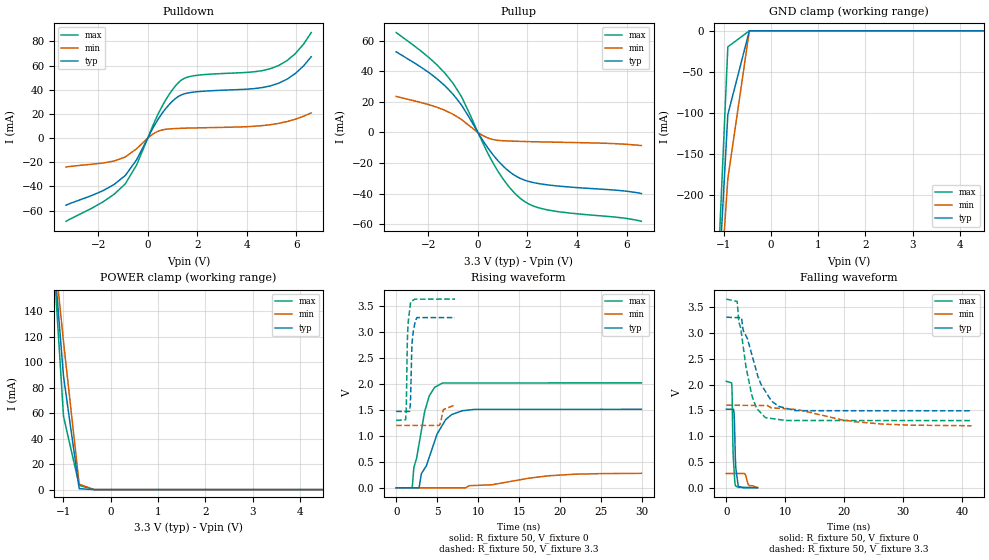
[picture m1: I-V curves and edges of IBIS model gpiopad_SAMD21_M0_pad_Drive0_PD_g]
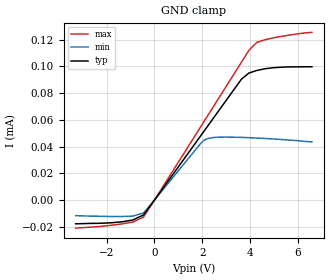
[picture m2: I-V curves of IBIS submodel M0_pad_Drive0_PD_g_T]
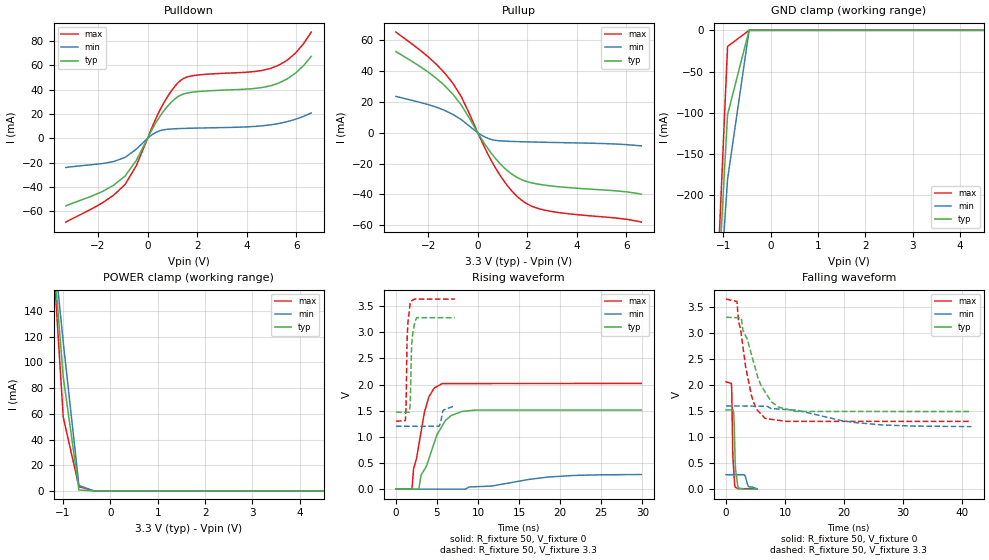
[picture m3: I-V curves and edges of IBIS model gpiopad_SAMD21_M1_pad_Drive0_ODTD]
|   - ATMEL Microcontrollers -
|   IBIS model for SAMD21_TQFP48
[IBIS Ver]   4.2
[Comment char]  |_char
[File Name]   samd21_3t48.ibs
[File Rev]   1.1
[Date]   16-SEP-2015 11:10:05
[Source]   By GENIBIS V3.6 - GENerate chip IBIS model - 11-SEP-2015
[Notes]   Property of ATMEL Corporation
[Disclaimer]
                  (C) Copyright ATMEL Nantes 2002-2015
Atmel Nantes makes no warranty for the use of its products, other than
those expressly contained in the Company's standard warranty which is detailed
in Atmel's Terms and Conditions located on the Company's web site. The Company
assumes no responsability for any errors which may appear in this document.
The user is granted this license only to use the IBIS model and is not granted
rights to sell, load, rent, lease or license the IBIS model in whole or in part,
or in modified form to anyone other than user. User may modify the IBIS model
to suit its specific applications but rights to derivative works and such
modifications shall belong to Atmel Nantes.
This IBIS model is provided on an \"AS IS\" basis and Atmel Nantes makes
absolutely no warranty with respect to the information contained herein.
[Copyright]   Copyright (c) 2002-2015 by ATMEL Nantes SA
|   COMPONENT : SAMD21_TQFP48
[Component]   SAMD21_TQFP48
[Manufacturer]  ATMEL Nantes SAS
[Package]
| Package family : TQFP_L
| RLC file   : V1.0
| RLCEDIT tool   : V1.10-2005/10/06
| variable   typ   min   max
R_pkg   160.75m   81.74m   198.56m
L_pkg   3.78n   2.53n   4.43n
C_pkg   280.42f   266.30f   299.31f
[Pin]   signal_name   model_name   R_pin   L_pin   C_pin
|   Real model names   <--->   IBIS model names
|   gpiopadrw100m33v3p66k25   gpiopad_SAMD21
|   gpiopadrw100m33v3p66k25   gpiopad_SAMD21
|   gpiopadrw100m33v3p66k25   gpiopad_SAMD21
|   gpiopadrw100m33v3p66k25   gpiopad_SAMD21
|   gpiopadrw100m33v3p66k25   gpiopad_SAMD21
|   gpiopadrw100m33v3p66k25   gpiopad_SAMD21
| gpiopadrtwihsmw100m33v3p66k25   gpiopadtwi_SAMD21
| gpiopadrtwihsmw100m33v3p66k25   gpiopadtwi_SAMD21
| gpiopadrtwihsmw100m33v3p66k25   gpiopadtwi_SAMD21
| gpiopadrtwihsmw100m33v3p66k25   gpiopadtwi_SAMD21
| gpiopadrtwihsmw100m33v3p66k25   gpiopadtwi_SAMD21
| gpiopadrtwihsmw100m33v3p66k25   gpiopadtwi_SAMD21
| gpiopadrtwihsmw100m33v3p66k25   gpiopadtwi_SAMD21
| gpiopadrtwihsmw100m33v3p66k25   gpiopadtwi_SAMD21
| gpiopadrtwihsmw100m33v3p66k25   gpiopadtwi_SAMD21
   1   PA00   gpiopad_SAMD21  175.42m   3.99n  280.16f
   2   PA01   gpiopad_SAMD21  160.34m   3.77n  279.76f
   3   PA02   gpiopad_SAMD21  155.73m   3.70n  279.64f
   4   PA03   gpiopad_SAMD21  147.82m   3.59n  279.43f
   5   GNDANA   GND   85.69m   2.70n  284.14f
   6   VDDANA   POWER  101.24m   2.92n  281.81f
   7   PB08   gpiopad_SAMD21  153.45m   3.67n  279.58f
   8   PB09   gpiopad_SAMD21  144.91m   3.55n  279.36f
   9   PA04   gpiopad_SAMD21  142.90m   3.52n  279.30f
   10   PA05   gpiopad_SAMD21  146.96m   3.58n  279.41f
   11   PA06   gpiopad_SAMD21  157.39m   3.73n  279.69f
   12   PA07   gpiopad_SAMD21  171.85m   3.94n  280.07f
   13   PA08   gpiopadtwi_SAMD21  194.61m   4.26n  280.67f
   14   PA09   gpiopadtwi_SAMD21  186.50m   4.15n  280.45f
   15   PA10   gpiopad_SAMD21  176.70m   4.01n  280.20f
   16   PA11   gpiopad_SAMD21  171.20m   3.93n  280.05f
   17   VDDIO   POWER  171.01m   3.92n  280.05f
   18   GND   GND  175.96m   4.00n  280.18f
   19   PB10   gpiopad_SAMD21  183.51m   4.10n  280.38f
   20   PB11   gpiopad_SAMD21  194.53m   4.26n  280.67f
   21   PA12   gpiopadtwi_SAMD21  170.32m   3.91n  280.03f
   22   PA13   gpiopadtwi_SAMD21  173.21m   3.96n  280.10f
   23   PA14   gpiopad_SAMD21  178.83m   4.04n  280.25f
   24   PA15   gpiopad_SAMD21  178.76m   4.04n  280.25f
   25   PA16   gpiopadtwi_SAMD21  185.69m   4.14n  280.43f
   26   PA17   gpiopadtwi_SAMD21  171.83m   3.94n  280.07f
   27   PA18   gpiopad_SAMD21  157.32m   3.73n  279.68f
   28   PA19   gpiopad_SAMD21  147.19m   3.58n  279.42f
   29   PA20   gpiopad_SAMD21  146.70m   3.57n  279.40f
   30   PA21   gpiopad_SAMD21  144.47m   3.54n  279.34f
   31   PA22   gpiopadtwi_SAMD21  144.59m   3.54n  279.35f
   32   PA23   gpiopadtwi_SAMD21  147.02m   3.58n  279.41f
   33   PA24   NC  155.78m   3.71n  279.64f
   34   PA25   NC  156.11m   3.71n  279.65f
   35   GND   GND  169.46m   3.90n  280.00f
   36   VDDIO   POWER  186.23m   4.14n  280.45f
   37   PB22   gpiopad_SAMD21  192.00m   4.23n  280.60f
   38   PB23   gpiopad_SAMD21  180.42m   4.06n  280.29f
   39   PA27   gpiopad_SAMD21  173.35m   3.96n  280.11f
   40   RESET_N   gpiopad_SAMD21  170.39m   3.92n  280.03f
   41   PA28   gpiopad_SAMD21  171.60m   3.93n  280.06f
   42   GND   GND   94.83m   2.83n  286.31f
   43   VDDCORE   POWER   94.43m   2.82n  286.21f
   44   VDDIO   POWER  113.59m   3.10n  283.12f
   45   PA30   gpiopad_SAMD21  175.34m   3.99n  280.16f
   46   PA31   gpiopad_SAMD21  184.39m   4.12n  280.40f
   47   PB02   gpiopad_SAMD21  171.36m   3.93n  280.05f
   48   PB03   gpiopad_SAMD21  182.90m   4.10n  280.36f
|   MODEL SELECTOR : gpiopadtwi_SAMD21
[Model Selector]   gpiopadtwi_SAMD21
gpiopadtwi_SAMD21_M8_TwiOnInt_gptwih   Twi On Int TwiOnInt
gpiopadtwi_SAMD21_M7_TwiOnFp_gpitwih   Twi On Fp TwiOnFp
gpiopadtwi_SAMD21_M6_TwiOn_gpioptwih   Twi On TwiOn
gpiopadtwi_SAMD21_M5_Drive1_PU_gtwih   drive 1 PU
gpiopadtwi_SAMD21_M4_Drive1_ODTdtwih   drive 1 ODT disabled
gpiopadtwi_SAMD21_M3_Drive1_NOPUtwih   drive 1 NOPU
gpiopadtwi_SAMD21_M2_Drive0_PU_gtwih   drive 0 PU
gpiopadtwi_SAMD21_M1_Drive0_ODTdtwih   drive 0 ODT disabled
gpiopadtwi_SAMD21_M0_Drive0_NOPUtwih   drive 0 NOPU
|   MODEL SELECTOR : gpiopad_SAMD21
[Model Selector]   gpiopad_SAMD21
gpiopad_SAMD21_M5_pad_Drive1_PU_g   drive 1 PU
gpiopad_SAMD21_M4_pad_Drive1_ODTD   drive 1 ODT Disabled
gpiopad_SAMD21_M3_pad_Drive1_PD_g   drive 1 PD
gpiopad_SAMD21_M2_pad_Drive0_PU_g   drive 0 PU
gpiopad_SAMD21_M1_pad_Drive0_ODTD   drive 0 ODT Disabled
gpiopad_SAMD21_M0_pad_Drive0_PD_g   drive 0 PD
| Models and submodels in the file (23): gpiopad_SAMD21_M0_pad_Drive0_PD_g (I/O), M0_pad_Drive0_PD_g_T (Dynamic_clamp), gpiopad_SAMD21_M1_pad_Drive0_ODTD (I/O), gpiopad_SAMD21_M2_pad_Drive0_PU_g (I/O), M2_pad_Drive0_PU_g_T (Dynamic_clamp), gpiopad_SAMD21_M3_pad_Drive1_PD_g (I/O), M3_pad_Drive1_PD_g_T (Dynamic_clamp), gpiopad_SAMD21_M4_pad_Drive1_ODTD (I/O), gpiopad_SAMD21_M5_pad_Drive1_PU_g (I/O), M5_pad_Drive1_PU_g_T (Dynamic_clamp), gpiopadtwi_SAMD21_M0_Drive0_NOPUtwih (I/O), M0_Drive0_NOPUtwih_T (Dynamic_clamp), gpiopadtwi_SAMD21_M1_Drive0_ODTdtwih (I/O), gpiopadtwi_SAMD21_M2_Drive0_PU_gtwih (I/O), M2_Drive0_PU_gtwih_T (Dynamic_clamp), gpiopadtwi_SAMD21_M3_Drive1_NOPUtwih (I/O), M3_Drive1_NOPUtwih_T (Dynamic_clamp), gpiopadtwi_SAMD21_M4_Drive1_ODTdtwih (I/O), gpiopadtwi_SAMD21_M5_Drive1_PU_gtwih (I/O), M5_Drive1_PU_gtwih_T (Dynamic_clamp), gpiopadtwi_SAMD21_M6_TwiOn_gpioptwih (I/O_open_sink), gpiopadtwi_SAMD21_M7_TwiOnFp_gpitwih (I/O_open_sink), gpiopadtwi_SAMD21_M8_TwiOnInt_gptwih (I/O_open_sink)
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|   MODEL : gpiopad_SAMD21_M0_pad_Drive0_PD_g
[Model] gpiopad_SAMD21_M0_pad_Drive0_PD_g
Model_type I/O
Vinl  =  0.99
Vinh  =  2.31
Vmeas =  1.650
| Capacitance   typ   min   max
C_comp   1.45231p   1.42406p   1.52865p
| Variables   typ   min   max
[GND Clamp Reference]   0   0   0
[POWER Clamp Reference]   3.3   1.6   3.65
[Pulldown Reference]   0   0   0
[Pullup Reference]   3.3   1.6   3.65
[Temperature Range]   25   105   -40
[Voltage Range]   3.3   1.6   3.65
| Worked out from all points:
|   slope of the pulldown table from 0 to 0.495 V, typ, clamps not added: 27.5 ohm
|   slope of the pullup table from 0 to 0.495 V, typ, clamps not added: 40.8 ohm
|   falling waveform, R_fixture 50, V_fixture 0: 20-80 % time 310ps typ, 447ps min, 268ps max; typ from 1.52 V to 0.005 V
|   falling waveform, R_fixture 50, V_fixture 3.3: 20-80 % time 3.37ns typ, 10.2ns min, 2.19ns max; typ from 3.3 V to 1.49 V
|   rising waveform, R_fixture 50, V_fixture 0: 20-80 % time 2.45ns typ, 6.98ns min, 1.57ns max; typ from 0 V to 1.51 V
|   rising waveform, R_fixture 50, V_fixture 3.3: 20-80 % time 243ps typ, 444ps min, 206ps max; typ from 1.47 V to 3.28 V
[GND Clamp]
| Voltage   I(typ)   I(min)   I(max)
-3.3V     -2.648A    -2.29A     -3.229A
-1.364V   -582.6mA   -574.2mA   -618.1mA
-909.1mV  -102.2mA   -180.5mA   -19.58mA
-454.5mV  -21.35uA   -51.34uA   -12.12uA
6.6V      0A         0A         0A
[POWER Clamp]
| Voltage   I(typ)   I(min)   I(max)
-3.3V     1.364A     1.145A     1.657A
-1.327V   242.2mA    237.8mA    253.7mA
-995.5mV  88.95mA    115.9mA    57.49mA
-663.6mV  729.7uA    4.271mA    3.277mA
-350mV    1.89uA     6.551uA    83.14uA
6.6V      0A         0A         0A
[Pulldown]
| Voltage   I(typ)   I(min)   I(max)
-3.3V     -55.55mA   -23.94mA   -68.88mA
-1.818V   -43.63mA   -20.7mA    -52.94mA
-909.1mV  -30.98mA   -15.68mA   -37.89mA
-454.5mV  -18.04mA   -8.89mA    -22.41mA
154.7mV   6.272mA    2.59mA     7.905mA
567.2mV   20.14mA    6.629mA    25.86mA
979.7mV   30.15mA    7.712mA    39.51mA
1.341V    35.55mA    8.051mA    47.68mA
1.959V    38.25mA    8.397mA    51.83mA
4.959V    43.17mA    11.07mA    57.42mA
5.955V    53.35mA    15.56mA    69.8mA
6.6V      67.29mA    20.81mA    87.26mA
[Pullup]
| Voltage   I(typ)   I(min)   I(max)
-3.3V     52.59mA    23.53mA    65.18mA
-1.991V   39.2mA     18.18mA    49.05mA
-1.327V   30.39mA    14.41mA    38.57mA
-995.5mV  24.79mA    11.78mA    31.87mA
-663.6mV  17.93mA    8.464mA    23.38mA
103.1mV   -2.756mA   -1.095mA   -3.561mA
670.3mV   -15.78mA   -4.81mA    -21.55mA
1.238V    -25.1mA    -5.553mA   -35.09mA
1.753V    -30.28mA   -5.829mA   -43.5mA
2.217V    -32.6mA    -6.025mA   -47.84mA
2.888V    -34.34mA   -6.261mA   -50.75mA
6.6V      -39.86mA   -8.525mA   -57.96mA
[Ramp]
dV/dt_r   0.913465/2.46764n  0.168178/6.98667n  1.23694/1.61372n
dV/dt_f   1.09661/3.43885n  0.238316/10.2022n  1.41004/2.19264n
R_load = 50
[Falling Waveform]
R_fixture = 50
V_fixture = 0
V_fixture_min = 0
V_fixture_max = 0
| Time   V(typ)   V(min)   V(max)
0s        1.522V     280.3mV    2.062V
901.1ps   1.522V     280.3mV    2.032V
986.8ps   1.522V     280.3mV    1.787V
1.12ns    1.522V     280.3mV    805mV
1.162ns   1.522V     280.3mV    621.2mV
1.372ns   1.29V      280.3mV    243.8mV
1.559ns   507.4mV    280.3mV    39.67mV
2.089ns   25.99mV    280.3mV    11.94mV
3.126ns   4.929mV    277.7mV    11.9mV
5.285ns   4.899mV    2.701mV    11.83mV
[Falling Waveform]
R_fixture = 50
V_fixture = 3.3
V_fixture_min = 1.6
V_fixture_max = 3.65
| Time   V(typ)   V(min)   V(max)
0s        3.3V       1.6V       3.65V
1.842ns   3.293V     1.598V     3.605V
2.124ns   3.292V     1.598V     3.206V
2.584ns   3.29V      1.598V     2.971V
2.851ns   3.049V     1.597V     2.747V
4.322ns   2.582V     1.596V     1.791V
6.634ns   1.868V     1.594V     1.359V
11.79ns   1.494V     1.519V     1.304V
21.69ns   1.494V     1.282V     1.304V
41.63ns   1.492V     1.203V     1.303V
[Rising Waveform]
R_fixture = 50
V_fixture = 0
V_fixture_min = 0
V_fixture_max = 0
| Time   V(typ)   V(min)   V(max)
0s        2.582nV    16.82nV    2.172nV
1.925ns   1.212mV    16.82nV    778.4uV
2.149ns   1.353mV    16.82nV    392.5mV
2.79ns    1.757mV    16.82nV    849mV
3.065ns   272.6mV    16.82nV    1.101V
4.022ns   587mV      16.82nV    1.77V
5.643ns   1.213V     16.82nV    2.02V
6.758ns   1.411V     16.82nV    2.02V
9.62ns    1.513V     46.47mV    2.02V
29.88ns   1.513V     279.7mV    2.023V
[Rising Waveform]
R_fixture = 50
V_fixture = 3.3
V_fixture_min = 1.6
V_fixture_max = 3.65
| Time   V(typ)   V(min)   V(max)
0s        1.472V     1.203V     1.3V
1.147ns   1.472V     1.203V     1.311V
1.24ns    1.472V     1.203V     1.655V
1.39ns    1.472V     1.203V     2.982V
1.758ns   1.76V      1.203V     3.584V
1.931ns   2.794V     1.203V     3.602V
2.527ns   3.281V     1.203V     3.636V
5.244ns   3.281V     1.203V     3.636V
5.754ns   3.281V     1.51V      3.636V
7.17ns    3.281V     1.596V     3.636V
[Add Submodel]
| Submodel Name Mode
M0_pad_Drive0_PD_g_T Non-Driving
| Submodel
[Submodel]  M0_pad_Drive0_PD_g_T
Submodel_type Dynamic_clamp
[GND Clamp]
| Voltage   I(typ)   I(min)   I(max)
-3.3V     -17.64uA   -11.56uA   -20.93uA
-1.364V   -16.21uA   -12.22uA   -17.76uA
-909.1mV  -14.89uA   -11.95uA   -16.44uA
-454.5mV  -11.05uA   -9.587uA   -12.61uA
2.062V    51.2uA     44.52uA    58.37uA
2.527V    62.72uA    46.91uA    71.5uA
3.65V     90.56uA    46.97uA    103.3uA
3.964V    95.13uA    46.73uA    112.2uA
4.295V    97.03uA    46.43uA    118uA
4.627V    98.26uA    46.13uA    120uA
5.291V    99.42uA    45.42uA    122.4uA
6.6V      99.78uA    43.54uA    125.5uA
|   MODEL : gpiopad_SAMD21_M1_pad_Drive0_ODTD
[Model] gpiopad_SAMD21_M1_pad_Drive0_ODTD
Model_type I/O
Vinl  =  0.99
Vinh  =  2.31
Vmeas =  1.650
| Capacitance   typ   min   max
C_comp   1.45231p   1.42406p   1.52865p
| Variables   typ   min   max
[GND Clamp Reference]   0   0   0
[POWER Clamp Reference]   3.3   1.6   3.65
[Pulldown Reference]   0   0   0
[Pullup Reference]   3.3   1.6   3.65
[Temperature Range]   25   105   -40
[Voltage Range]   3.3   1.6   3.65
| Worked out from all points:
|   slope of the pulldown table from 0 to 0.495 V, typ, clamps not added: 27.5 ohm
|   slope of the pullup table from 0 to 0.495 V, typ, clamps not added: 40.8 ohm
|   falling waveform, R_fixture 50, V_fixture 0: 20-80 % time 310ps typ, 447ps min, 268ps max; typ from 1.52 V to 0.005 V
|   falling waveform, R_fixture 50, V_fixture 3.3: 20-80 % time 3.37ns typ, 10.2ns min, 2.19ns max; typ from 3.3 V to 1.49 V
|   rising waveform, R_fixture 50, V_fixture 0: 20-80 % time 2.45ns typ, 6.98ns min, 1.57ns max; typ from 0 V to 1.51 V
|   rising waveform, R_fixture 50, V_fixture 3.3: 20-80 % time 243ps typ, 444ps min, 206ps max; typ from 1.47 V to 3.28 V
[GND Clamp]
| Voltage   I(typ)   I(min)   I(max)
-3.3V     -2.648A    -2.29A     -3.229A
-1.364V   -582.6mA   -574.2mA   -618.1mA
-909.1mV  -102.2mA   -180.5mA   -19.58mA
-454.5mV  -21.35uA   -51.34uA   -12.12uA
6.6V      0A         0A         0A
[POWER Clamp]
| Voltage   I(typ)   I(min)   I(max)
-3.3V     1.364A     1.145A     1.657A
-1.327V   242.2mA    237.8mA    253.7mA
-995.5mV  88.95mA    115.9mA    57.49mA
-663.6mV  729.7uA    4.271mA    3.277mA
-350mV    1.89uA     6.551uA    83.14uA
6.6V      0A         0A         0A
[Pulldown]
| Voltage   I(typ)   I(min)   I(max)
-3.3V     -55.55mA   -23.94mA   -68.88mA
-1.818V   -43.63mA   -20.7mA    -52.94mA
-909.1mV  -30.98mA   -15.68mA   -37.89mA
-454.5mV  -18.04mA   -8.89mA    -22.41mA
154.7mV   6.272mA    2.59mA     7.905mA
567.2mV   20.14mA    6.629mA    25.86mA
979.7mV   30.15mA    7.712mA    39.51mA
1.341V    35.55mA    8.051mA    47.68mA
1.959V    38.25mA    8.397mA    51.83mA
4.959V    43.17mA    11.07mA    57.42mA
5.955V    53.35mA    15.56mA    69.8mA
6.6V      67.29mA    20.81mA    87.26mA
[Pullup]
| Voltage   I(typ)   I(min)   I(max)
-3.3V     52.59mA    23.53mA    65.18mA
-1.991V   39.2mA     18.18mA    49.05mA
-1.327V   30.39mA    14.41mA    38.57mA
-995.5mV  24.79mA    11.78mA    31.87mA
-663.6mV  17.93mA    8.464mA    23.38mA
103.1mV   -2.756mA   -1.095mA   -3.561mA
670.3mV   -15.78mA   -4.81mA    -21.55mA
1.238V    -25.1mA    -5.553mA   -35.09mA
1.753V    -30.28mA   -5.829mA   -43.5mA
2.217V    -32.6mA    -6.025mA   -47.84mA
2.888V    -34.34mA   -6.261mA   -50.75mA
6.6V      -39.86mA   -8.525mA   -57.96mA
[Ramp]
dV/dt_r   0.913465/2.46764n  0.168178/6.98667n  1.23694/1.61372n
dV/dt_f   1.09661/3.43885n  0.238316/10.2022n  1.41004/2.19264n
R_load = 50
[Falling Waveform]
R_fixture = 50
V_fixture = 0
V_fixture_min = 0
V_fixture_max = 0
| Time   V(typ)   V(min)   V(max)
0s        1.522V     280.3mV    2.062V
901.1ps   1.522V     280.3mV    2.032V
986.8ps   1.522V     280.3mV    1.787V
1.12ns    1.522V     280.3mV    805mV
1.162ns   1.522V     280.3mV    621.2mV
1.372ns   1.29V      280.3mV    243.8mV
1.559ns   507.4mV    280.3mV    39.67mV
2.089ns   25.99mV    280.3mV    11.94mV
3.126ns   4.929mV    277.7mV    11.9mV
5.285ns   4.899mV    2.701mV    11.83mV
[Falling Waveform]
R_fixture = 50
V_fixture = 3.3
V_fixture_min = 1.6
V_fixture_max = 3.65
| Time   V(typ)   V(min)   V(max)
0s        3.3V       1.6V       3.65V
1.842ns   3.293V     1.598V     3.605V
2.124ns   3.292V     1.598V     3.206V
2.584ns   3.29V      1.598V     2.971V
2.851ns   3.049V     1.597V     2.747V
4.322ns   2.582V     1.596V     1.791V
6.634ns   1.868V     1.594V     1.359V
11.79ns   1.494V     1.519V     1.304V
21.69ns   1.494V     1.282V     1.304V
41.63ns   1.492V     1.203V     1.303V
[Rising Waveform]
R_fixture = 50
V_fixture = 0
V_fixture_min = 0
V_fixture_max = 0
| Time   V(typ)   V(min)   V(max)
0s        2.582nV    16.82nV    2.172nV
1.925ns   1.212mV    16.82nV    778.4uV
2.149ns   1.353mV    16.82nV    392.5mV
2.79ns    1.757mV    16.82nV    849mV
3.065ns   272.6mV    16.82nV    1.101V
4.022ns   587mV      16.82nV    1.77V
5.643ns   1.213V     16.82nV    2.02V
6.758ns   1.411V     16.82nV    2.02V
9.62ns    1.513V     46.47mV    2.02V
29.88ns   1.513V     279.7mV    2.023V
[Rising Waveform]
R_fixture = 50
V_fixture = 3.3
V_fixture_min = 1.6
V_fixture_max = 3.65
| Time   V(typ)   V(min)   V(max)
0s        1.472V     1.203V     1.3V
1.147ns   1.472V     1.203V     1.311V
1.24ns    1.472V     1.203V     1.655V
1.39ns    1.472V     1.203V     2.982V
1.758ns   1.76V      1.203V     3.584V
1.931ns   2.794V     1.203V     3.602V
2.527ns   3.281V     1.203V     3.636V
5.244ns   3.281V     1.203V     3.636V
5.754ns   3.281V     1.51V      3.636V
7.17ns    3.281V     1.596V     3.636V
